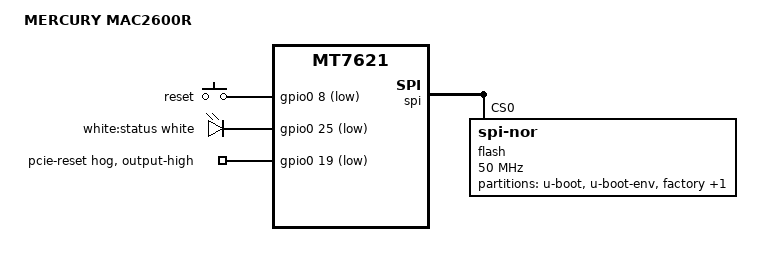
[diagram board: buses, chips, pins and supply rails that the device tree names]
// SPDX-License-Identifier: GPL-2.0-or-later

/dts-v1/;

#include "mt7621.dtsi"

#include <dt-bindings/gpio/gpio.h>
#include <dt-bindings/input/input.h>
#include <dt-bindings/leds/common.h>

/ {
	compatible = "mercury,mac2600r", "mediatek,mt7621-soc";
	model = "MERCURY MAC2600R";

	aliases {
		button-boot1 = &key_reset;
		led-status1 = &led_status;
		serial0 = &uart0;
		spi0 = &spi;
	};

	chosen {
		stdout-path = &uart0;
	};

	config {
		button-reset-env;
	};

	gpio-keys {
		compatible = "gpio-keys";

		key_reset: reset {
			label = "reset";
			gpios = <&gpio0 8 GPIO_ACTIVE_LOW>;
			linux,code = <KEY_RESTART>;
		};
	};

	gpio-leds {
		compatible = "gpio-leds";

		led_status: led-status {
			label = "white:status";
			color = <LED_COLOR_ID_WHITE>;
			function = LED_FUNCTION_STATUS;
			gpios = <&gpio0 25 GPIO_ACTIVE_LOW>;
			default-state = "on";
		};
	};
};

&eth_pins {
	/delete-node/ rgmii2_pins;
};

&gpio0 {
	pcie-reset {
		gpio-hog;
		gpios = <19 GPIO_ACTIVE_LOW>;
		output-high;
	};
};

&spi {
	status = "okay";

	flash@0 {
		compatible = "jedec,spi-nor";
		reg = <0>;
		spi-max-frequency = <50000000>;

		partitions {
			compatible = "fixed-partitions";
			#address-cells = <1>;
			#size-cells = <1>;

			partition@0 {
				label = "u-boot";
				reg = <0x000000 0x030000>;
			};

			partition@30000 {
				label = "u-boot-env";
				reg = <0x030000 0x010000>;
			};

			partition@40000 {
				label = "factory";
				reg = <0x040000 0x010000>;
			};

			partition@50000 {
				label = "firmware";
				reg = <0x050000 0xfb0000>;
			};
		};
	};
};

&state_default {
	/delete-node/ spi-nand_pins;
	/delete-node/ sdxc-nand_pins;
};
